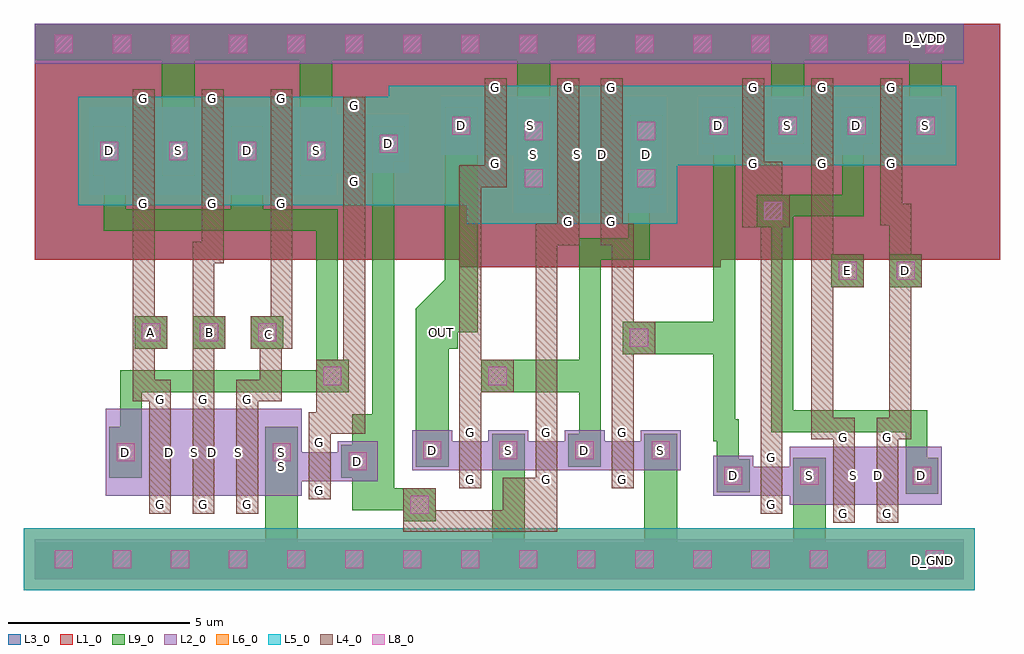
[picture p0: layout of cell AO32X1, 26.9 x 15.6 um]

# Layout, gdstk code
import gdstk
lib = gdstk.Library(unit=1e-6, precision=1e-09)
def R(c, l, rs):  # rectangles x0, y0, x1, y1
    for r in rs: c.add(gdstk.rectangle(r[:2], r[2:], *l))
def A(c, l, x, y, w, h, nx, ny, dx, dy):  # array of equal rectangles
    R(c, l, [(x+i*dx, y+j*dy, x+i*dx+w, y+j*dy+h) for i in range(nx) for j in range(ny)])
def P(c, l, *ps):  # polygons
    for p in ps: c.add(gdstk.Polygon(p, *l))
L1_0 = (1, 0)
L2_0 = (2, 0)
L3_0 = (3, 0)
L4_0 = (4, 0)
L5_0 = (5, 0)
L6_0 = (6, 0)
L8_0 = (8, 0)
L9_0 = (9, 0)

ao32x1 = lib.new_cell('AO32X1')
A(ao32x1, L1_0, 0, 8.8, 1.6, 6.5, 16, 1, 1.6, 0)
A(ao32x1, L1_0, 0, 9.1, 6, 5.4, 3, 1, 1.9, 0)
A(ao32x1, L1_0, 16.8, 10.2, 6, 4.6, 3, 1, 1.9, 0)
R(ao32x1, L1_0, [(11.7,8.6,17.7,14.8), (12.9,8.6,18.9,14.8), (25.6,8.8,26.6,15.3), (5.8,9.7,11.8,14.3), (9.7,10.2,15.7,14.8)])
A(ao32x1, L2_0, 0, 0, 1.6, 1.1, 16, 2, 1.6, 14.2)
A(ao32x1, L2_0, 3.05, 2.3, 0.8, 2.4, 3, 1, 1.2, 0)
A(ao32x1, L2_0, 11.5, 3, 1, 0.8, 3, 1, 2.1, 0)
A(ao32x1, L2_0, 2.6, 10.6, 0.8, 2.4, 3, 1, 1.9, 0)
A(ao32x1, L2_0, 19.4, 11.7, 0.8, 1.6, 3, 1, 1.9, 0)
R(ao32x1, L2_0, [(20.8,2.05,21.9,3.65), (21.9,2.05,22.7,3.65), (22,2.05,23.1,3.65), (22.7,2.05,23.8,3.65), (23.1,2.05,23.9,3.65), (23.9,2.05,25,3.65), (1.95,2.3,3.05,4.7), (3.15,2.3,4.25,4.7), (3.85,2.3,4.95,4.7), (4.35,2.3,5.45,4.7), (5.05,2.3,6.15,4.7), (6.25,2.3,7.35,4.7), (18.7,2.3,19.8,3.4), (19.8,2.3,20.8,3.1), (20.8,2.3,21.9,3.4), (6.25,2.7,7.35,3.5), (7.35,2.7,8.35,3.5), (8.35,2.7,9.45,3.8), (10.4,3,11.5,4.1), (12.5,3,13.6,4.1), (12.5,3,13.6,4.1), (14.6,3,15.7,4.1), (14.6,3,15.7,4.1), (16.7,3,17.8,4.1), (13.2,10.1,14.3,13.3), (14.3,10.1,15.1,13.3), (14.4,10.1,15.5,13.3), (15.1,10.1,16.2,13.3), (15.5,10.1,16.3,13.3), (16.3,10.1,17.4,13.3), (1.5,10.6,2.6,13), (3.4,10.6,4.5,13), (3.4,10.6,4.5,13), (5.3,10.6,6.4,13), (5.3,10.6,6.4,13), (7.2,10.6,8.3,13), (7.3,11.2,8.4,12.8), (8.4,11.2,9.2,12.8), (9.2,11.2,10.3,12.8), (11.2,11.7,12.3,13.3), (12.3,11.7,13.1,13.3), (13.1,11.7,14.2,13.3), (18.3,11.7,19.4,13.3), (20.2,11.7,21.3,13.3), (20.2,11.7,21.3,13.3), (22.1,11.7,23.2,13.3), (22.1,11.7,23.2,13.3), (24,11.7,25.1,13.3)])
A(ao32x1, L3_0, 0, 8.8, 1.6, 6.5, 16, 1, 1.6, 0)
A(ao32x1, L3_0, 0, 9.1, 6, 5.4, 3, 1, 1.9, 0)
A(ao32x1, L3_0, 16.8, 10.2, 6, 4.6, 3, 1, 1.9, 0)
R(ao32x1, L3_0, [(11.7,8.6,17.7,14.8), (12.9,8.6,18.9,14.8), (25.6,8.8,26.6,15.3), (5.8,9.7,11.8,14.3), (9.7,10.2,15.7,14.8)])
A(ao32x1, L4_0, 3.15, 1.8, 0.6, 0.5, 3, 2, 1.2, 2.9)
A(ao32x1, L4_0, 3.15, 1.8, 0.6, 3.4, 3, 1, 1.2, 0)
A(ao32x1, L4_0, 11.7, 2.5, 0.6, 0.5, 3, 2, 2.1, 1.3)
A(ao32x1, L4_0, 11.7, 2.5, 0.6, 1.8, 3, 1, 2.1, 0)
A(ao32x1, L4_0, 2.75, 6.35, 0.9, 0.9, 3, 1, 1.6, 0)
A(ao32x1, L4_0, 2.7, 10.1, 0.6, 0.5, 3, 2, 1.9, 2.9)
A(ao32x1, L4_0, 2.7, 10.1, 0.6, 3.4, 3, 1, 1.9, 0)
A(ao32x1, L4_0, 19.5, 11.2, 0.6, 2.6, 3, 1, 1.9, 0)
A(ao32x1, L4_0, 19.5, 11.2, 0.6, 0.5, 3, 2, 1.9, 2.1)
R(ao32x1, L4_0, [(22,1.55,22.6,4.15), (22,1.55,22.6,2.05), (23.2,1.55,23.8,4.15), (23.2,1.55,23.8,2.05), (10.15,1.6,11.05,2.5), (20,1.8,20.6,2.3), (20,1.8,20.6,3.6), (12.9,1.9,13.8,2.8), (7.55,2.2,8.15,2.7), (7.55,2.2,8.15,4), (20,3.1,20.6,3.6), (7.55,3.5,8.15,4), (20,3.6,20.6,4.7), (22,3.65,22.6,4.15), (23.2,3.65,23.8,4.15), (7.75,4.6,8.5,5.15), (7.75,5.15,8.65,6.05), (12.3,5.15,13.2,6.05), (16.2,6.2,17.1,7.1), (6.5,6.35,7.1,10.1), (21.95,8.05,22.85,8.95), (23.55,8.05,24.45,8.95), (2.7,8.6,3.3,10.2), (8.5,9,9.1,11), (4.6,9.1,5.2,10.15), (14.4,9.6,15,10.1), (14.4,9.6,15,13.8), (15.6,9.6,16.2,10.1), (15.6,9.6,16.2,13.8), (19.9,9.7,20.8,10.6), (8.5,10.7,9.1,13.3), (8.5,10.7,9.1,11.2), (12.4,11.2,13,13.8), (12.4,11.2,13,11.7), (8.5,12.8,9.1,13.3), (12.4,13.3,13,13.8), (14.4,13.3,15,13.8), (15.6,13.3,16.2,13.8)])
P(ao32x1, L4_0, [(4.35,5.2),(4.95,5.2),(4.95,8.7),(5.2,8.7),(5.2,9.3),(4.35,9.3)],
  [(21.4,3.85),(22.6,3.85),(22.6,4.45),(22,4.45),(22,11.2),(21.4,11.2)],
  [(7.55,4),(9.1,4),(9.1,9.6),(8.5,9.6),(8.5,4.6),(7.55,4.6)],
  [(15.6,9.2),(15.9,9.2),(15.9,4.3),(16.5,4.3),(16.5,9.8),(15.6,9.8)],
  [(5.55,4.9),(6.8,4.9),(6.8,6.65),(6.2,6.65),(6.2,5.5),(5.55,5.5)],
  [(19.5,9.7),(20,9.7),(20,4.7),(20.6,4.7),(20.6,11.5),(19.5,11.5)],
  [(11.7,4.3),(12.3,4.3),(12.3,10.8),(13,10.8),(13,11.4),(11.7,11.4)],
  [(23.2,3.85),(24.15,3.85),(24.15,8.05),(23.55,8.05),(23.55,4.45),(23.2,4.45)],
  [(23.3,9.75),(23.55,9.75),(23.55,8.95),(24.15,8.95),(24.15,10.35),(23.9,10.35),(23.9,11.5),(23.3,11.5)],
  [(2.7,4.9),(3.75,4.9),(3.75,5.5),(3.3,5.5),(3.3,9),(2.7,9)],
  [(10.15,1.3),(14.4,1.3),(14.4,2.5),(13.8,2.5),(13.8,1.9),(10.15,1.9)],
  [(13.8,4.3),(14.4,4.3),(14.4,9.2),(15,9.2),(15,9.8),(13.8,9.8)])
A(ao32x1, L5_0, 1.6, -0.3, 1.6, 1.7, 14, 1, 1.6, 0)
A(ao32x1, L5_0, 1.2, 10.3, 3.6, 3, 3, 1, 1.9, 0)
A(ao32x1, L5_0, 18, 11.4, 3.6, 2.2, 3, 1, 1.9, 0)
R(ao32x1, L5_0, [(-0.3,-0.3,1.6,1.4), (24,-0.3,25.9,1.4), (12.9,9.8,16.5,13.6), (14.1,9.8,17.7,13.6), (7,10.9,10.6,13.1), (10.9,11.4,14.5,13.6), (17.7,11.4,18,13.6)])
P(ao32x1, L5_0, [(8.6,10.3),(11.9,10.3),(11.9,9.8),(12.9,9.8),(12.9,11.4),(10.9,11.4),(10.9,13.6),(9.75,13.6),(9.75,13.3),(8.6,13.3)])
A(ao32x1, L6_0, 1.6, -0.3, 1.6, 1.7, 14, 1, 1.6, 0)
A(ao32x1, L6_0, 1.2, 10.3, 3.6, 3, 3, 1, 1.9, 0)
A(ao32x1, L6_0, 18, 11.4, 3.6, 2.2, 3, 1, 1.9, 0)
R(ao32x1, L6_0, [(-0.3,-0.3,1.6,1.4), (24,-0.3,25.9,1.4), (12.9,9.8,16.5,13.6), (14.1,9.8,17.7,13.6), (7,10.9,10.6,13.1), (10.9,11.4,14.5,13.6), (17.7,11.4,18,13.6)])
P(ao32x1, L6_0, [(8.6,10.3),(11.9,10.3),(11.9,9.8),(12.9,9.8),(12.9,11.4),(10.9,11.4),(10.9,13.6),(9.75,13.6),(9.75,13.3),(8.6,13.3)])
A(ao32x1, L8_0, 0.55, 0.3, 0.5, 0.5, 16, 2, 1.6, 14.2)
A(ao32x1, L8_0, 2.95, 6.55, 0.5, 0.5, 3, 1, 1.6, 0)
R(ao32x1, L8_0, [(10.35,1.8,10.85,2.3), (19,2.6,19.5,3.1), (21.1,2.6,21.6,3.1), (21.1,2.6,21.6,3.1), (24.2,2.6,24.7,3.1), (8.65,3,9.15,3.5), (2.25,3.25,2.75,3.75), (6.55,3.25,7.05,3.75), (10.7,3.3,11.2,3.8), (12.8,3.3,13.3,3.8), (12.8,3.3,13.3,3.8), (14.9,3.3,15.4,3.8), (14.9,3.3,15.4,3.8), (17,3.3,17.5,3.8), (7.95,5.35,8.45,5.85), (12.5,5.35,13,5.85), (16.4,6.4,16.9,6.9), (22.15,8.25,22.65,8.75), (23.75,8.25,24.25,8.75), (20.1,9.9,20.6,10.4), (13.5,10.8,14,11.3), (16.6,10.8,17.1,11.3), (1.8,11.55,2.3,12.05), (3.7,11.55,4.2,12.05), (3.7,11.55,4.2,12.05), (5.6,11.55,6.1,12.05), (5.6,11.55,6.1,12.05), (7.5,11.55,8,12.05), (9.5,11.75,10,12.25), (13.5,12.1,14,12.6), (16.6,12.1,17.1,12.6), (11.5,12.25,12,12.75), (18.6,12.25,19.1,12.75), (20.5,12.25,21,12.75), (20.5,12.25,21,12.75), (22.4,12.25,22.9,12.75), (22.4,12.25,22.9,12.75), (24.3,12.25,24.8,12.75)])
A(ao32x1, L9_0, 0, 0, 1.6, 1, 16, 2, 1.6, 14.3)
R(ao32x1, L9_0, [(24.25,0.05,25.15,0.95), (6.35,0.1,7.25,3.7), (12.6,0.1,13.5,4), (16.8,0.1,17.7,4), (20.9,0.1,21.8,3.25), (10.15,1.6,11.05,2.5), (20.9,2.35,21.8,3.35), (24,2.35,24.9,3.35), (18.8,2.4,19.7,3.3), (20.9,2.4,21.8,3.3), (9.35,2.5,9.9,3.95), (2.05,2.8,2.95,4.2), (6.35,2.8,7.25,4.2), (8.45,2.8,9.35,3.7), (10.5,3.1,11.4,4), (12.6,3.1,13.5,4), (12.6,3.1,13.5,4), (14.7,3.1,15.6,4), (14.7,3.1,15.6,4), (16.8,3.1,17.7,4), (7.75,5.15,8.65,6.05), (12.3,5.15,13.2,6.05), (13.2,5.15,15,6.05), (16.2,6.2,17.1,7.1), (17.1,6.2,18.7,7.1), (2.75,6.35,3.65,7.25), (2.75,6.35,3.65,7.25), (4.35,6.35,5.25,7.25), (4.35,6.35,5.25,7.25), (5.95,6.35,6.85,7.25), (5.95,6.35,6.85,7.25), (10.75,6.35,11.65,7.25), (21.95,8.05,22.85,8.95), (21.95,8.05,22.85,8.95), (23.55,8.05,24.45,8.95), (23.55,8.05,24.45,8.95), (5.55,9.6,6.15,10.5), (19.9,9.7,20.8,10.6), (5.4,9.75,6.3,11.1), (13.3,10.6,14.2,12.8), (16.4,10.6,17.3,12.8), (1.6,11.1,2.5,12.5), (3.5,11.1,4.4,12.5), (3.5,11.1,4.4,12.5), (5.4,11.1,6.3,12.5), (5.4,11.1,6.3,12.5), (7.3,11.1,8.2,12.5), (9.3,11.5,10.2,12.5), (3.5,11.6,4.4,15.2), (7.3,11.6,8.2,15.2), (13.3,11.9,14.2,15.2), (11.3,12,12.2,13), (18.4,12,19.3,13), (20.3,12,21.2,13), (20.3,12,21.2,13), (22.2,12,23.1,13), (22.2,12,23.1,13), (24.1,12,25,13), (20.3,12.1,21.2,15.2), (24.1,12.1,25,15.2), (24.15,14.4,25.05,15.3)])
P(ao32x1, L9_0, [(1.9,9.6),(6.15,9.6),(6.15,10.2),(2.5,10.2),(2.5,11.7),(1.9,11.7)],
  [(5.55,9.6),(7.75,9.6),(7.75,5.45),(8.35,5.45),(8.35,10.2),(5.55,10.2)],
  [(15,3.4),(15.6,3.4),(15.6,8.8),(16.95,8.8),(16.95,10.6),(17,10.6),(17,11.2),(16.35,11.2),(16.35,9.4),(15,9.4)],
  [(8.75,3.1),(9.35,3.1),(9.35,3.95),(9.9,3.95),(9.9,12.1),(9.3,12.1),(9.3,4.55),(8.75,4.55)],
  [(20.2,9.7),(20.3,9.7),(20.3,4.05),(24,4.05),(24,2.75),(24.6,2.75),(24.6,4.65),(20.9,4.65),(20.9,10.3),(20.2,10.3)],
  [(18.7,3.8),(18.8,3.8),(18.8,2.7),(19.4,2.7),(19.4,4.4),(19.3,4.4),(19.3,12.6),(18.7,12.6)],
  [(2.35,3.6),(2.95,3.6),(2.95,5.15),(8.35,5.15),(8.35,5.75),(2.35,5.75)],
  [(8.75,1.9),(10.75,1.9),(10.75,2.5),(9.35,2.5),(9.35,3.4),(8.75,3.4)],
  [(20.2,10),(22.85,10),(22.85,12.6),(22.25,12.6),(22.25,10.6),(20.2,10.6)],
  [(10.5,3.1),(11.4,3.1),(11.4,6.35),(11.65,6.35),(11.65,6.8),(12.2,6.8),(12.2,12.9),(11.3,12.9),(11.3,7.7),(10.75,7.7),(10.75,7.25),(10.5,7.25)],
  [(11.3,7.25),(11.3,8.25),(10.5,7.45),(10.5,7.25)])
ao32x1.add(gdstk.Label('G', (19.8,11.452), layer=4, texttype=0))
ao32x1.add(gdstk.Label('G', (19.8,13.552), layer=4, texttype=0))
ao32x1.add(gdstk.Label('S', (20.751,12.501), layer=9, texttype=0))
ao32x1.add(gdstk.Label('D', (18.851,12.501), layer=9, texttype=0))
ao32x1.add(gdstk.Label('G', (23.5,1.802), layer=4, texttype=0))
ao32x1.add(gdstk.Label('G', (23.5,3.902), layer=4, texttype=0))
ao32x1.add(gdstk.Label('S', (22.549,2.851), layer=2, texttype=0))
ao32x1.add(gdstk.Label('D', (24.449,2.851), layer=9, texttype=0))
ao32x1.add(gdstk.Label('G', (23.6,13.548), layer=4, texttype=0))
ao32x1.add(gdstk.Label('G', (23.6,11.448), layer=4, texttype=0))
ao32x1.add(gdstk.Label('S', (24.551,12.499), layer=9, texttype=0))
ao32x1.add(gdstk.Label('D', (22.651,12.499), layer=9, texttype=0))
ao32x1.add(gdstk.Label('G', (12,2.752), layer=4, texttype=0))
ao32x1.add(gdstk.Label('G', (12,4.052), layer=4, texttype=0))
ao32x1.add(gdstk.Label('S', (13.051,3.551), layer=9, texttype=0))
ao32x1.add(gdstk.Label('D', (10.951,3.551), layer=9, texttype=0))
ao32x1.add(gdstk.Label('G', (7.85,2.452), layer=4, texttype=0))
ao32x1.add(gdstk.Label('G', (7.85,3.752), layer=4, texttype=0))
ao32x1.add(gdstk.Label('S', (6.799,3.101), layer=2, texttype=0))
ao32x1.add(gdstk.Label('D', (8.899,3.251), layer=9, texttype=0))
ao32x1.add(gdstk.Label('G', (21.7,11.452), layer=4, texttype=0))
ao32x1.add(gdstk.Label('G', (21.7,13.552), layer=4, texttype=0))
ao32x1.add(gdstk.Label('S', (20.749,12.501), layer=9, texttype=0))
ao32x1.add(gdstk.Label('D', (22.649,12.501), layer=9, texttype=0))
ao32x1.add(gdstk.Label('D', (3.701,3.501), layer=2, texttype=0))
ao32x1.add(gdstk.Label('G', (4.65,2.052), layer=4, texttype=0))
ao32x1.add(gdstk.Label('G', (4.65,4.952), layer=4, texttype=0))
ao32x1.add(gdstk.Label('S', (5.601,3.501), layer=2, texttype=0))
ao32x1.add(gdstk.Label('G', (4.9,10.352), layer=4, texttype=0))
ao32x1.add(gdstk.Label('G', (4.9,13.252), layer=4, texttype=0))
ao32x1.add(gdstk.Label('S', (3.949,11.801), layer=9, texttype=0))
ao32x1.add(gdstk.Label('D', (5.849,11.801), layer=9, texttype=0))
ao32x1.add(gdstk.Label('D', (23.249,2.851), layer=2, texttype=0))
ao32x1.add(gdstk.Label('G', (22.3,1.802), layer=4, texttype=0))
ao32x1.add(gdstk.Label('G', (22.3,3.902), layer=4, texttype=0))
ao32x1.add(gdstk.Label('S', (21.349,2.851), layer=9, texttype=0))
ao32x1.add(gdstk.Label('G', (15.9,9.852), layer=4, texttype=0))
ao32x1.add(gdstk.Label('G', (15.9,13.552), layer=4, texttype=0))
ao32x1.add(gdstk.Label('S', (14.949,11.701), layer=2, texttype=0))
ao32x1.add(gdstk.Label('D', (16.849,11.701), layer=9, texttype=0))
ao32x1.add(gdstk.Label('G', (3.45,2.052), layer=4, texttype=0))
ao32x1.add(gdstk.Label('G', (3.45,4.952), layer=4, texttype=0))
ao32x1.add(gdstk.Label('S', (4.401,3.501), layer=2, texttype=0))
ao32x1.add(gdstk.Label('D', (2.501,3.501), layer=9, texttype=0))
ao32x1.add(gdstk.Label('G', (12.7,11.452), layer=4, texttype=0))
ao32x1.add(gdstk.Label('G', (12.7,13.552), layer=4, texttype=0))
ao32x1.add(gdstk.Label('S', (13.651,12.501), layer=2, texttype=0))
ao32x1.add(gdstk.Label('D', (11.751,12.501), layer=9, texttype=0))
ao32x1.add(gdstk.Label('G', (6.8,10.352), layer=4, texttype=0))
ao32x1.add(gdstk.Label('G', (6.8,13.252), layer=4, texttype=0))
ao32x1.add(gdstk.Label('S', (7.751,11.801), layer=9, texttype=0))
ao32x1.add(gdstk.Label('D', (5.851,11.801), layer=9, texttype=0))
ao32x1.add(gdstk.Label('G', (16.2,2.752), layer=4, texttype=0))
ao32x1.add(gdstk.Label('G', (16.2,4.052), layer=4, texttype=0))
ao32x1.add(gdstk.Label('S', (17.251,3.551), layer=9, texttype=0))
ao32x1.add(gdstk.Label('D', (15.151,3.551), layer=9, texttype=0))
ao32x1.add(gdstk.Label('G', (14.7,9.852), layer=4, texttype=0))
ao32x1.add(gdstk.Label('G', (14.7,13.552), layer=4, texttype=0))
ao32x1.add(gdstk.Label('S', (13.749,11.701), layer=9, texttype=0))
ao32x1.add(gdstk.Label('D', (15.649,11.701), layer=2, texttype=0))
ao32x1.add(gdstk.Label('G', (20.3,2.052), layer=4, texttype=0))
ao32x1.add(gdstk.Label('G', (20.3,3.352), layer=4, texttype=0))
ao32x1.add(gdstk.Label('S', (21.351,2.851), layer=9, texttype=0))
ao32x1.add(gdstk.Label('D', (19.251,2.851), layer=9, texttype=0))
ao32x1.add(gdstk.Label('D', (4.901,3.501), layer=2, texttype=0))
ao32x1.add(gdstk.Label('G', (5.85,2.052), layer=4, texttype=0))
ao32x1.add(gdstk.Label('G', (5.85,4.952), layer=4, texttype=0))
ao32x1.add(gdstk.Label('S', (6.801,3.501), layer=9, texttype=0))
ao32x1.add(gdstk.Label('G', (14.1,2.752), layer=4, texttype=0))
ao32x1.add(gdstk.Label('G', (14.1,4.052), layer=4, texttype=0))
ao32x1.add(gdstk.Label('S', (13.049,3.551), layer=9, texttype=0))
ao32x1.add(gdstk.Label('D', (15.149,3.551), layer=9, texttype=0))
ao32x1.add(gdstk.Label('G', (8.8,10.952), layer=4, texttype=0))
ao32x1.add(gdstk.Label('G', (8.8,13.052), layer=4, texttype=0))
ao32x1.add(gdstk.Label('S', (7.849,12.001), layer=2, texttype=0))
ao32x1.add(gdstk.Label('D', (9.749,12.001), layer=9, texttype=0))
ao32x1.add(gdstk.Label('G', (3,10.352), layer=4, texttype=0))
ao32x1.add(gdstk.Label('G', (3,13.252), layer=4, texttype=0))
ao32x1.add(gdstk.Label('S', (3.951,11.801), layer=9, texttype=0))
ao32x1.add(gdstk.Label('D', (2.051,11.801), layer=9, texttype=0))
ao32x1.add(gdstk.Label('D', (24,8.5), layer=50, texttype=0))
ao32x1.add(gdstk.Label('D_VDD', (24.55,14.9), layer=50, texttype=0))
ao32x1.add(gdstk.Label('B', (4.8,6.8), layer=50, texttype=0))
ao32x1.add(gdstk.Label('D_GND', (24.75,0.5), layer=50, texttype=0))
ao32x1.add(gdstk.Label('E', (22.4,8.5), layer=50, texttype=0))
ao32x1.add(gdstk.Label('OUT', (11.2,6.8), layer=50, texttype=0))
ao32x1.add(gdstk.Label('C', (6.45,6.75), layer=50, texttype=0))
ao32x1.add(gdstk.Label('A', (3.2,6.8), layer=50, texttype=0))

lib.write_gds('AO32X1.gds')
